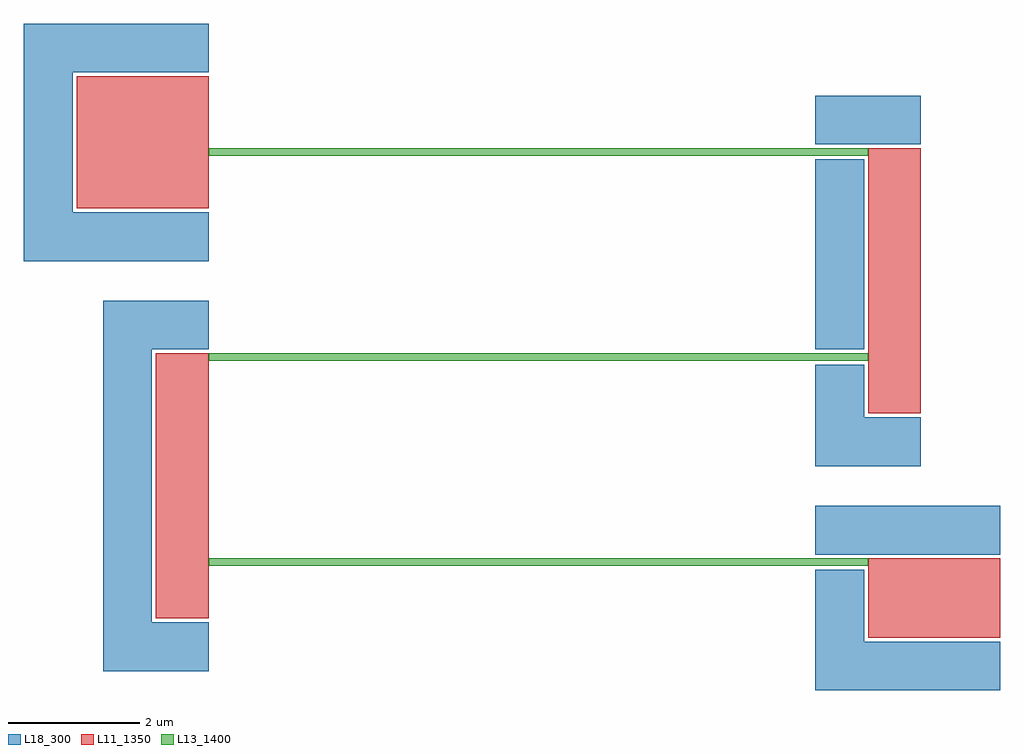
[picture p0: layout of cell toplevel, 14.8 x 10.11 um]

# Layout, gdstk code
import gdstk
lib = gdstk.Library(unit=1e-6, precision=1e-09)
def R(c, l, rs):  # rectangles x0, y0, x1, y1
    for r in rs: c.add(gdstk.rectangle(r[:2], r[2:], *l))
def P(c, l, *ps):  # polygons
    for p in ps: c.add(gdstk.Polygon(p, *l))
L11_1350 = (11, 1350)
L13_1400 = (13, 1400)
L18_300 = (18, 300)

rectangle006 = lib.new_cell('rectangle006')
R(rectangle006, L11_1350, [(0,0,0.8,3.22)])

rectangle007 = lib.new_cell('rectangle007')
R(rectangle007, L11_1350, [(0,-0.8,0.8,0)])

arm_connector = lib.new_cell('Arm connector')
arm_connector.add(gdstk.Reference(rectangle006, (-0.8,-6.22)))
arm_connector.add(gdstk.Reference(rectangle007, (-0.8,-6.22)))

rectangle009 = lib.new_cell('rectangle009')
R(rectangle009, L11_1350, [(0,0,0.8,3.22)])

rectangle010 = lib.new_cell('rectangle010')
R(rectangle010, L11_1350, [(0,-0.8,0.8,0)])

arm_connector008 = lib.new_cell('Arm connector008')
arm_connector008.add(gdstk.Reference(rectangle009, (10,-3.11)))
arm_connector008.add(gdstk.Reference(rectangle010, (10,-3.11)))

arms = lib.new_cell('Arms')
arms.add(gdstk.Reference(arm_connector, (0,0)))
arms.add(gdstk.Reference(arm_connector008, (0,0)))

rectangle = lib.new_cell('rectangle')
R(rectangle, L13_1400, [(0,0,10,0.11)])

resistive_segment = lib.new_cell('Resistive segment')
resistive_segment.add(gdstk.Reference(rectangle, (0,0)))

rectangle003 = lib.new_cell('rectangle003')
R(rectangle003, L13_1400, [(0,0,10,0.11)])

resistive_segment002 = lib.new_cell('Resistive segment002')
resistive_segment002.add(gdstk.Reference(rectangle003, (0,-3.11)))

rectangle005 = lib.new_cell('rectangle005')
R(rectangle005, L13_1400, [(0,0,10,0.11)])

resistive_segment004 = lib.new_cell('Resistive segment004')
resistive_segment004.add(gdstk.Reference(rectangle005, (0,-6.22)))

resistive_segments = lib.new_cell('Resistive segments')
resistive_segments.add(gdstk.Reference(resistive_segment, (0,0)))
resistive_segments.add(gdstk.Reference(resistive_segment002, (0,0)))
resistive_segments.add(gdstk.Reference(resistive_segment004, (0,0)))

boolean = lib.new_cell('boolean')
P(boolean, L18_300, [(0,-7.08),(-0.86,-7.08),(-0.86,-2.94),(0,-2.94),(0,-2.2),(-1.6,-2.2),(-1.6,-7.82),(0,-7.82)])

boolean011 = lib.new_cell('boolean011')
R(boolean011, L18_300, [(9.2,-2.94,9.94,-0.06), (9.2,0.17,10.8,0.91)])
P(boolean011, L18_300, [(10.8,-3.97),(9.94,-3.97),(9.94,-3.17),(9.2,-3.17),(9.2,-4.71),(10.8,-4.71)])

boolean014 = lib.new_cell('boolean014')
P(boolean014, L18_300, [(0,-0.86),(-2.06,-0.86),(-2.06,1.26),(0,1.26),(0,2),(-2.8,2),(-2.8,-1.6),(0,-1.6)])

boolean017 = lib.new_cell('boolean017')
R(boolean017, L18_300, [(9.2,-6.05,12,-5.31)])
P(boolean017, L18_300, [(12,-7.37),(9.94,-7.37),(9.94,-6.28),(9.2,-6.28),(9.2,-8.11),(12,-8.11)])

undercut = lib.new_cell('Undercut')
undercut.add(gdstk.Reference(boolean014, (0,0)))
undercut.add(gdstk.Reference(boolean017, (0,0)))

liftoff_undercut = lib.new_cell('Liftoff undercut')
liftoff_undercut.add(gdstk.Reference(boolean, (0,0)))
liftoff_undercut.add(gdstk.Reference(boolean011, (0,0)))
liftoff_undercut.add(gdstk.Reference(undercut, (0,0)))

rectangle012 = lib.new_cell('rectangle012')
R(rectangle012, L11_1350, [(-2,0,0,1.2)])

connector = lib.new_cell('Connector')
connector.add(gdstk.Reference(rectangle012, (0,0)))

rectangle013 = lib.new_cell('rectangle013')
R(rectangle013, L11_1350, [(-2,-0.8,0,0)])

top_connector = lib.new_cell('Top connector')
top_connector.add(gdstk.Reference(connector, (0,0)))
top_connector.add(gdstk.Reference(rectangle013, (0,0)))

rectangle016 = lib.new_cell('rectangle016')
R(rectangle016, L11_1350, [(-2,0,0,1.2)])

connector015 = lib.new_cell('Connector015')
connector015.add(gdstk.Reference(rectangle016, (12,-7.31)))

bot_connector = lib.new_cell('Bot connector')
bot_connector.add(gdstk.Reference(connector015, (0,0)))

toplevel = lib.new_cell('toplevel')
toplevel.add(gdstk.Reference(arms, (0,0)))
toplevel.add(gdstk.Reference(resistive_segments, (0,0)))
toplevel.add(gdstk.Reference(liftoff_undercut, (0,0)))
toplevel.add(gdstk.Reference(top_connector, (0,0)))
toplevel.add(gdstk.Reference(bot_connector, (0,0)))

lib.write_gds('toplevel.gds')
